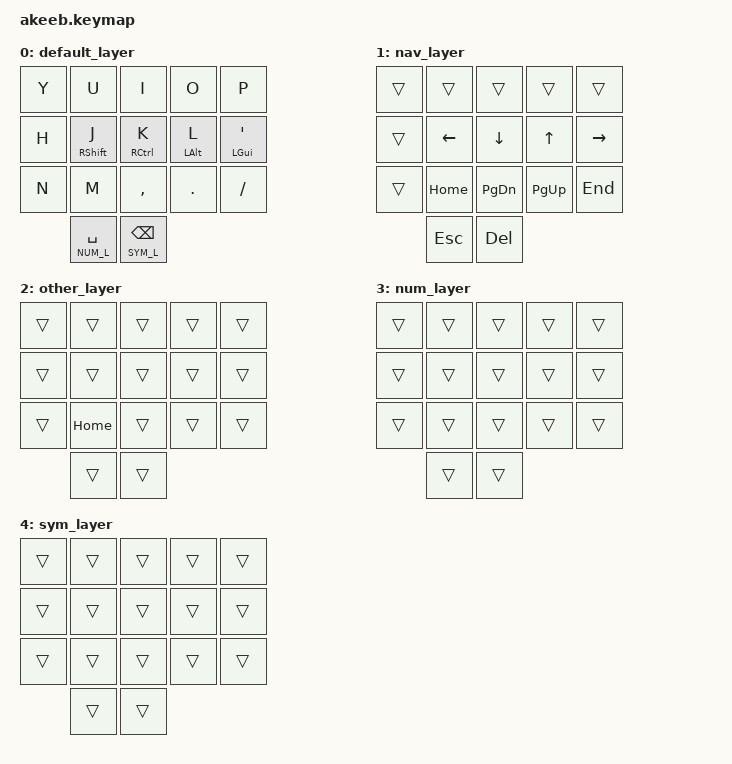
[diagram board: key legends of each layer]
/*
 * Copyright (c) 2020 The ZMK Contributors
 *
 * SPDX-License-Identifier: MIT
 */

#undef ZMK_BEHAVIORS_KEEP_ALL

#include <behaviors.dtsi>
#include <dt-bindings/zmk/keys.h>
#include <dt-bindings/zmk/bt.h>

#define NAV_L 1
#define OTHER_L 2
#define NUM_L 3
#define SYM_L 4

// Using layer taps on thumbs, having quick tap as well helps w/ repeating space/backspace
&lt { quick-tap-ms = <200>; };

/ {
    behaviors {
        hm: homerow_mods {
            compatible = "zmk,behavior-hold-tap";
            #binding-cells = <2>;
            tapping-term-ms = <200>;
            flavor = "tap-preferred";
            bindings = <&kp>, <&kp>;
        };
    };

    keymap {
        compatible = "zmk,keymap";

        default_layer {
            bindings = <
                &kp Y            &kp U          &kp I       &kp O      &kp P
                &kp H            &hm RSHFT J    &hm RCTRL K &hm LALT L &hm LGUI SQT
                &kp N            &kp M          &kp COMMA   &kp DOT    &kp FSLH
                                 &lt NUM_L SPACE  &lt SYM_L BSPC
            >;
        };

        nav_layer {
            bindings = <
                &trans           &trans         &trans      &trans     &trans
                &trans           &kp LEFT       &kp DOWN    &kp UP     &kp RIGHT
                &trans           &kp HOME       &kp PG_DN   &kp PG_UP  &kp END
                                 &kp ESC          &kp DEL
            >;
        };

        other_layer {
            bindings = <
                &trans           &trans         &trans      &trans     &trans
                &trans           &trans         &trans      &trans     &trans
                &trans           &kp HOME       &trans      &trans     &trans
                                 &trans           &trans
            >;
        };

        num_layer {
            bindings = <
                &trans          &trans         &trans      &trans     &trans
                &trans          &trans         &trans      &trans     &trans
                &trans          &trans         &trans      &trans     &trans
                                &trans          &trans
            >;
        };

        sym_layer {
            bindings = <
                &trans &trans   &trans    &trans    &trans
                &trans &trans   &trans    &trans    &trans
                &trans &trans   &trans    &trans    &trans
                       &trans &trans
            >;
        };
    };
};
